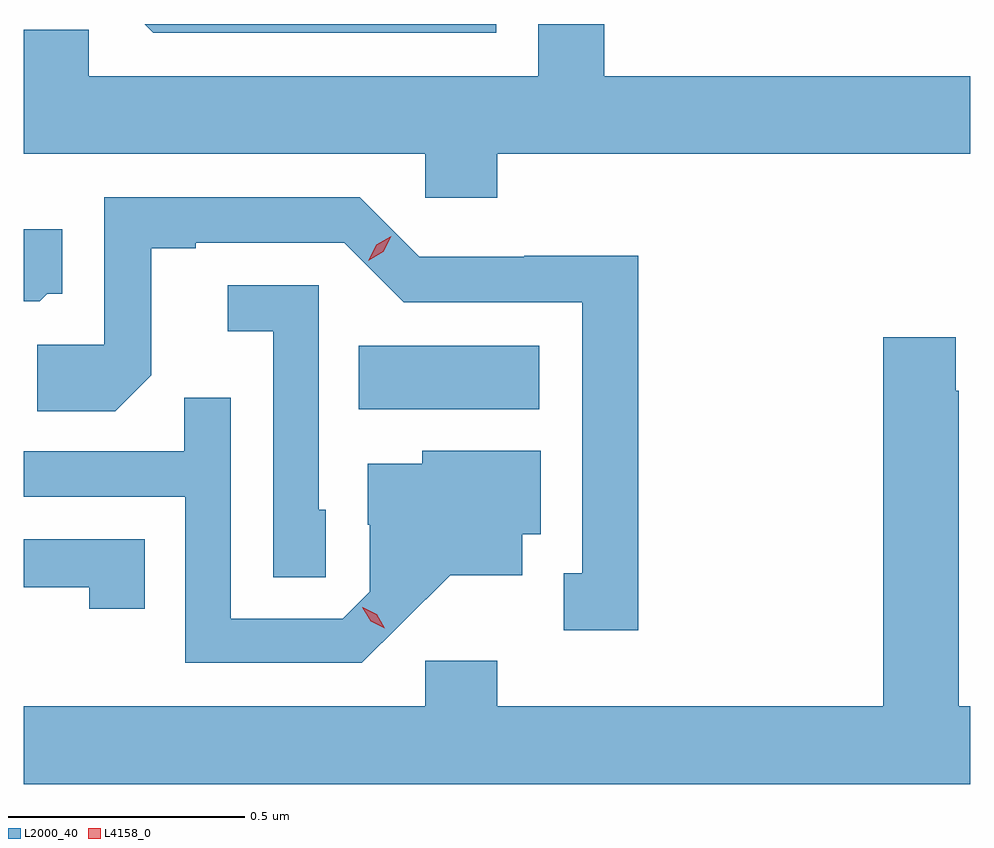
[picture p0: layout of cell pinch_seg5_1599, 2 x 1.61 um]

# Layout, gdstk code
import gdstk
lib = gdstk.Library(unit=1e-6, precision=1e-09)
def R(c, l, rs):  # rectangles x0, y0, x1, y1
    for r in rs: c.add(gdstk.rectangle(r[:2], r[2:], *l))
def P(c, l, *ps):  # polygons
    for p in ps: c.add(gdstk.Polygon(p, *l))
L2000_40 = (2000, 40)
L4158_0 = (4158, 0)

pinch_seg5_1599 = lib.new_cell('pinch_seg5_1599')
R(pinch_seg5_1599, L2000_40, [(316.3,872.204,316.681,872.338)])
P(pinch_seg5_1599, L2000_40, [(316.592,872.744),(317.592,872.744),(317.592,872.908),(316.819,872.908),(316.819,873.018),(316.679,873.018),(316.679,872.908),(315.729,872.908),(315.729,873.006),(315.592,873.006),(315.592,872.744),(316.44,872.744),(316.44,872.651),(316.592,872.651)],
  [(316.59,873.018),(315.848,873.018),(315.866,873),(316.59,873)],
  [(316.891,872.528),(316.65,872.528),(316.65,872.526),(316.428,872.526),(316.302,872.652),(315.762,872.652),(315.762,872.34),(315.621,872.34),(315.621,872.2),(315.785,872.2),(315.861,872.276),(315.861,872.544),(315.955,872.544),(315.955,872.556),(316.269,872.556),(316.395,872.43),(316.772,872.43),(316.772,871.857),(316.733,871.857),(316.733,871.737),(316.891,871.737)],
  [(315.642,872.448),(315.673,872.448),(315.673,872.584),(315.592,872.584),(315.592,872.432),(315.626,872.432)],
  [(316.23,871.992),(316.215,871.992),(316.215,872.466),(316.023,872.466),(316.023,872.369),(316.119,872.369),(316.119,871.849),(316.23,871.849)],
  [(317.592,871.576),(317.568,871.576),(317.568,872.243),(317.561,872.243),(317.561,872.356),(317.408,872.356),(317.408,871.576),(316.592,871.576),(316.592,871.672),(316.44,871.672),(316.44,871.576),(315.592,871.576),(315.592,871.412),(317.592,871.412)],
  [(316.39,871.751),(316.493,871.853),(316.645,871.853),(316.645,871.94),(316.684,871.94),(316.684,872.116),(316.434,872.116),(316.434,872.089),(316.319,872.089),(316.319,871.96),(316.323,871.96),(316.323,871.818),(316.266,871.761),(316.029,871.761),(316.029,872.228),(315.931,872.228),(315.931,872.115),(315.592,872.115),(315.592,872.019),(315.933,872.019),(315.933,871.668),(316.306,871.668)],
  [(315.848,871.929),(315.592,871.929),(315.592,871.828),(315.73,871.828),(315.73,871.782),(315.848,871.782)])
P(pinch_seg5_1599, L4158_0, [(316.355,871.741),(316.325,871.756),(316.307,871.785),(316.307,871.786),(316.308,871.786),(316.338,871.771),(316.355,871.741),(316.355,871.741)],
  [(316.32,872.518),(316.32,872.518),(316.337,872.551),(316.369,872.57),(316.369,872.57),(316.369,872.57),(316.352,872.537),(316.32,872.518)])

lib.write_gds('pinch_seg5_1599.gds')
